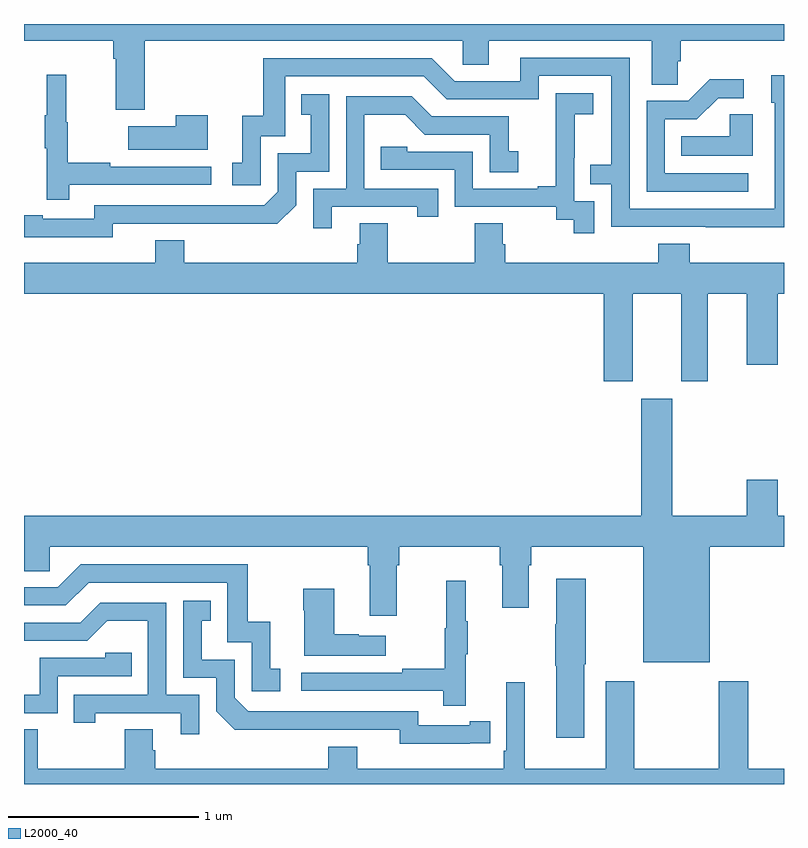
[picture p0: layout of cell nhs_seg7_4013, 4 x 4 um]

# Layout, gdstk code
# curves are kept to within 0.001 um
import gdstk
lib = gdstk.Library(unit=1e-6, precision=1e-09)
def P(c, l, *ps):  # polygons
    for p in ps: c.add(gdstk.Polygon(p, *l))
L2000_40 = (2000, 40)

nhs_seg7_4013 = lib.new_cell('nhs_seg7_4013')
P(nhs_seg7_4013, L2000_40, [(365,1037.912),(365.471,1037.912),(365.471,1037.816),(365.483,1037.816),(365.483,1037.55),(365.636,1037.55),(365.636,1037.912),(367.308,1037.912),(367.308,1037.785),(367.447,1037.785),(367.447,1037.912),(368.303,1037.912),(368.303,1037.68),(368.442,1037.68),(368.442,1037.803),(368.456,1037.803),(368.456,1037.912),(369,1037.912),(369,1038),(365,1038)],
  [(369,1037.731),(368.933,1037.731),(368.933,1037.586),(368.952,1037.586),(368.952,1037.028),(368.187,1037.028),(368.187,1037.823),(367.613,1037.823),(367.613,1037.7),(367.266,1037.7),(367.146,1037.82),(366.259,1037.82),(366.259,1037.518),(366.149,1037.518),(366.149,1037.271),(366.096,1037.271),(366.096,1037.151),(366.246,1037.151),(366.246,1037.409),(366.375,1037.409),(366.375,1037.724),(367.104,1037.724),(367.224,1037.604),(367.71,1037.604),(367.71,1037.727),(368.091,1037.727),(368.091,1037.258),(367.981,1037.258),(367.981,1037.157),(368.091,1037.157),(368.091,1036.932),(368.587,1036.932),(368.587,1036.93),(369,1036.93)],
  [(365.237,1037.154),(365.986,1037.154),(365.986,1037.25),(365.453,1037.25),(365.453,1037.27),(365.23,1037.27),(365.23,1037.484),(365.222,1037.484),(365.222,1037.734),(365.12,1037.734),(365.12,1037.521),(365.109,1037.521),(365.109,1037.347),(365.12,1037.347),(365.12,1037.076),(365.237,1037.076)],
  [(368.812,1037.214),(368.373,1037.214),(368.373,1037.499),(368.542,1037.499),(368.653,1037.61),(368.788,1037.61),(368.788,1037.708),(368.609,1037.708),(368.496,1037.595),(368.277,1037.595),(368.277,1037.118),(368.812,1037.118)],
  [(368.001,1037.067),(367.896,1037.067),(367.896,1037.297),(367.898,1037.297),(367.898,1037.525),(367.996,1037.525),(367.996,1037.635),(367.798,1037.635),(367.798,1037.429),(367.799,1037.429),(367.799,1037.146),(367.703,1037.146),(367.703,1037.133),(367.362,1037.133),(367.362,1037.328),(367.017,1037.328),(367.017,1037.355),(366.877,1037.355),(366.877,1037.232),(367.266,1037.232),(367.266,1037.037),(367.8,1037.037),(367.8,1036.969),(367.893,1036.969),(367.893,1036.899),(368.001,1036.899)],
  [(365.466,1036.95),(366.334,1036.949),(366.432,1037.046),(366.432,1037.223),(366.606,1037.223),(366.606,1037.629),(366.46,1037.629),(366.46,1037.523),(366.509,1037.523),(366.509,1037.319),(366.336,1037.319),(366.336,1037.118),(366.264,1037.046),(365.37,1037.046),(365.37,1036.974),(365.098,1036.974),(365.098,1036.994),(365,1036.994),(365,1036.878),(365.466,1036.877)],
  [(366.619,1037.037),(367.07,1037.037),(367.07,1036.986),(367.181,1036.986),(367.181,1037.133),(366.792,1037.133),(366.792,1037.522),(367.006,1037.522),(367.11,1037.418),(367.452,1037.418),(367.452,1037.22),(367.6,1037.22),(367.6,1037.329),(367.551,1037.329),(367.551,1037.514),(367.147,1037.514),(367.042,1037.619),(366.696,1037.619),(366.696,1037.133),(366.522,1037.133),(366.522,1036.926),(366.619,1036.926)],
  [(368.836,1037.525),(368.715,1037.525),(368.715,1037.41),(368.458,1037.41),(368.458,1037.306),(368.836,1037.306)],
  [(365.968,1037.521),(365.798,1037.521),(365.798,1037.461),(365.549,1037.461),(365.549,1037.339),(365.968,1037.339)],
  [(368.203,1036.58),(368.459,1036.58),(368.459,1036.119),(368.599,1036.119),(368.599,1036.58),(368.804,1036.58),(368.804,1036.206),(368.968,1036.206),(368.968,1036.58),(369,1036.58),(369,1036.744),(368.504,1036.744),(368.504,1036.843),(368.339,1036.843),(368.339,1036.744),(367.532,1036.744),(367.532,1036.842),(367.519,1036.842),(367.519,1036.952),(367.372,1036.952),(367.372,1036.744),(366.915,1036.744),(366.915,1036.952),(366.767,1036.952),(366.767,1036.842),(366.755,1036.842),(366.755,1036.744),(365.843,1036.744),(365.843,1036.861),(365.69,1036.861),(365.69,1036.744),(365,1036.744),(365,1036.58),(368.051,1036.58),(368.051,1036.119),(368.203,1036.119)],
  [(368.608,1035.248),(369,1035.248),(369,1035.412),(368.968,1035.412),(368.968,1035.601),(368.804,1035.601),(368.804,1035.412),(368.413,1035.412),(368.413,1036.027),(368.249,1036.027),(368.249,1035.412),(365,1035.412),(365,1035.121),(365.136,1035.121),(365.136,1035.248),(366.809,1035.248),(366.809,1035.152),(366.821,1035.152),(366.821,1034.886),(366.961,1034.886),(366.961,1035.152),(366.974,1035.152),(366.974,1035.248),(367.505,1035.248),(367.505,1035.152),(367.517,1035.152),(367.517,1034.928),(367.657,1034.928),(367.657,1035.152),(367.67,1035.152),(367.67,1035.248),(368.258,1035.248),(368.258,1034.642),(368.608,1034.642)],
  [(366.349,1034.607),(366.296,1034.607),(366.296,1034.853),(366.178,1034.853),(366.178,1035.156),(365.298,1035.156),(365.178,1035.036),(365,1035.036),(365,1034.94),(365.22,1034.94),(365.34,1035.06),(366.069,1035.06),(366.069,1034.745),(366.198,1034.745),(366.198,1034.487),(366.349,1034.487)],
  [(367.948,1034.629),(367.956,1034.629),(367.956,1035.079),(367.802,1035.079),(367.802,1034.84),(367.795,1034.84),(367.795,1034.623),(367.802,1034.623),(367.802,1034.244),(367.948,1034.244)],
  [(367.325,1034.683),(367.336,1034.683),(367.336,1034.857),(367.325,1034.857),(367.325,1035.07),(367.222,1035.07),(367.222,1034.82),(367.215,1034.82),(367.215,1034.606),(366.991,1034.606),(366.991,1034.586),(366.459,1034.586),(366.459,1034.49),(367.207,1034.49),(367.207,1034.412),(367.325,1034.412)],
  [(366.904,1034.779),(366.761,1034.779),(366.761,1034.789),(366.634,1034.789),(366.634,1035.028),(366.469,1035.028),(366.469,1034.915),(366.476,1034.915),(366.476,1034.675),(366.904,1034.675)],
  [(367.346,1034.214),(367.454,1034.214),(367.454,1034.33),(367.346,1034.33),(367.346,1034.31),(367.074,1034.31),(367.074,1034.382),(366.18,1034.382),(366.108,1034.454),(366.108,1034.655),(365.935,1034.655),(365.935,1034.859),(365.984,1034.859),(365.984,1034.965),(365.838,1034.965),(365.838,1034.559),(366.012,1034.559),(366.012,1034.382),(366.11,1034.285),(366.978,1034.286),(366.978,1034.213)],
  [(365.922,1034.469),(365.748,1034.469),(365.748,1034.955),(365.402,1034.955),(365.297,1034.85),(365,1034.85),(365,1034.754),(365.334,1034.754),(365.438,1034.858),(365.652,1034.858),(365.652,1034.469),(365.263,1034.469),(365.263,1034.322),(365.374,1034.322),(365.374,1034.373),(365.825,1034.373),(365.825,1034.262),(365.922,1034.262)],
  [(365.178,1034.568),(365.567,1034.568),(365.567,1034.691),(365.427,1034.691),(365.427,1034.664),(365.082,1034.664),(365.082,1034.469),(365,1034.469),(365,1034.373),(365.178,1034.373)],
  [(369,1034.08),(368.811,1034.08),(368.811,1034.542),(368.656,1034.542),(368.656,1034.08),(368.211,1034.08),(368.211,1034.542),(368.063,1034.542),(368.063,1034.08),(367.636,1034.08),(367.636,1034.536),(367.539,1034.536),(367.539,1034.176),(367.526,1034.176),(367.526,1034.08),(366.754,1034.08),(366.754,1034.197),(366.602,1034.197),(366.602,1034.08),(365.69,1034.08),(365.69,1034.178),(365.677,1034.178),(365.677,1034.288),(365.53,1034.288),(365.53,1034.08),(365.073,1034.08),(365.073,1034.288),(365,1034.288),(365,1034),(369,1034)])

lib.write_gds('nhs_seg7_4013.gds')
